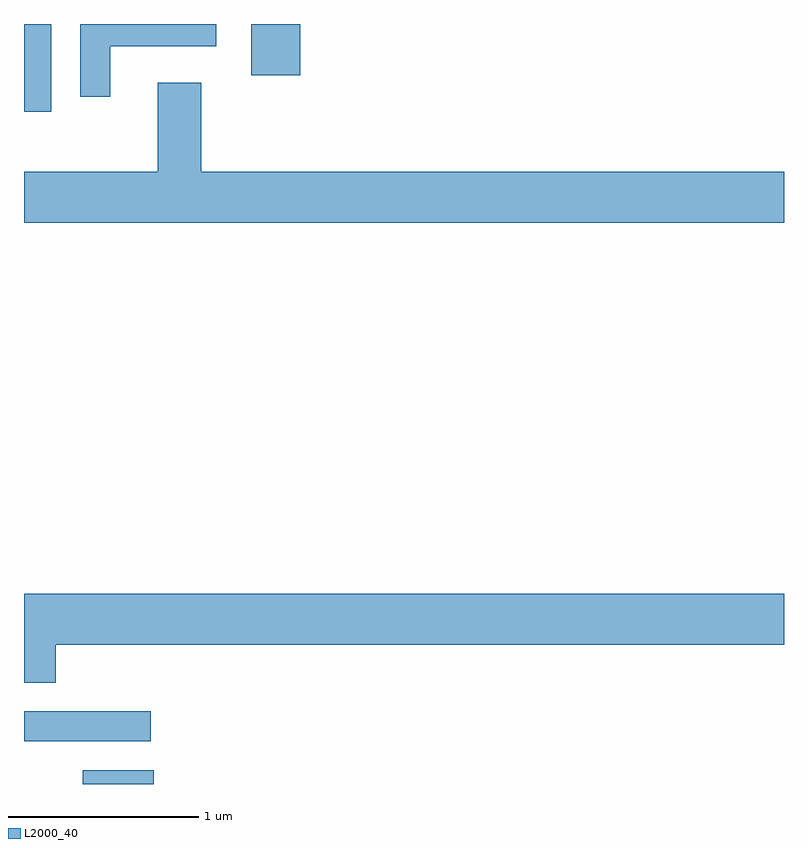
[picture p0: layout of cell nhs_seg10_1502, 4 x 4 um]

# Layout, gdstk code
import gdstk
lib = gdstk.Library(unit=1e-6, precision=1e-09)
def R(c, l, rs):  # rectangles x0, y0, x1, y1
    for r in rs: c.add(gdstk.rectangle(r[:2], r[2:], *l))
def P(c, l, *ps):  # polygons
    for p in ps: c.add(gdstk.Polygon(p, *l))
L2000_40 = (2000, 40)

nhs_seg10_1502 = lib.new_cell('nhs_seg10_1502')
R(nhs_seg10_1502, L2000_40, [(229.921,2106.522,230.294,2106.594), (229.611,2106.746,230.278,2106.904), (229.611,2110.061,229.754,2110.522), (230.806,2110.251,231.064,2110.522)])
P(nhs_seg10_1502, L2000_40, [(230.064,2110.406),(230.624,2110.406),(230.624,2110.522),(229.906,2110.522),(229.906,2110.138),(230.064,2110.138)],
  [(233.611,2109.744),(230.544,2109.744),(230.544,2110.214),(230.316,2110.214),(230.316,2109.744),(229.611,2109.744),(229.611,2109.476),(233.611,2109.476)],
  [(229.779,2107.256),(233.611,2107.256),(233.611,2107.524),(229.611,2107.524),(229.611,2107.056),(229.779,2107.056)])

lib.write_gds('nhs_seg10_1502.gds')
